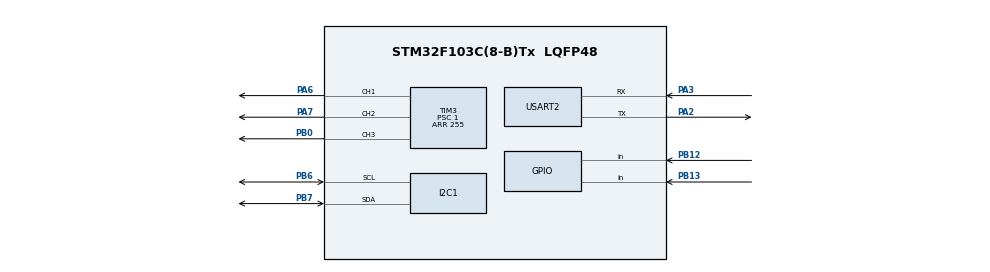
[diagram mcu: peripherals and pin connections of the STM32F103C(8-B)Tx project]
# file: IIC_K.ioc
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Mcu.Family=STM32F1
Mcu.Name=STM32F103C(8-B)Tx
Mcu.Package=LQFP48
NVIC.PriorityGroup=NVIC_PRIORITYGROUP_4
PA2.Mode=Asynchronous
PA2.Signal=USART2_TX
PA3.Mode=Asynchronous
PA3.Signal=USART2_RX
PA6.Signal=S_TIM3_CH1
PA7.Signal=S_TIM3_CH2
PB0.Signal=S_TIM3_CH3
PB12.GPIO_PuPd=GPIO_PULLUP
PB12.Signal=GPIO_Input
PB13.GPIO_PuPd=GPIO_PULLUP
PB13.Signal=GPIO_Input
PB6.Mode=I2C
PB6.Signal=I2C1_SCL
PB7.Mode=I2C
PB7.Signal=I2C1_SDA
ProjectManager.HeapSize=0x200
ProjectManager.StackSize=0x400
ProjectManager.TargetToolchain=STM32CubeIDE
RCC.APB1Freq_Value=8000000
RCC.APB2Freq_Value=8000000
SH.S_TIM3_CH1.0=TIM3_CH1,PWM Generation1 CH1
SH.S_TIM3_CH2.0=TIM3_CH2,PWM Generation2 CH2
SH.S_TIM3_CH3.0=TIM3_CH3,PWM Generation3 CH3
TIM3.AutoReloadPreload=TIM_AUTORELOAD_PRELOAD_ENABLE
TIM3.Channel-PWM\ Generation1\ CH1=TIM_CHANNEL_1
TIM3.Channel-PWM\ Generation2\ CH2=TIM_CHANNEL_2
TIM3.Channel-PWM\ Generation3\ CH3=TIM_CHANNEL_3
TIM3.Period=255
TIM3.Prescaler=1
USART2.VirtualMode=VM_ASYNC
VP_TIM3_VS_ClockSourceINT.Mode=Internal
board=custom

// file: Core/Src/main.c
/* USER CODE BEGIN Header */
/**
  ******************************************************************************
  * @file           : main.c
  * @brief          : Main program body
  ******************************************************************************
  * @attention
  *
  * Copyright (c) 2023 STMicroelectronics.
  * All rights reserved.
  *
  * This software is licensed under terms that can be found in the LICENSE file
  * in the root directory of this software component.
  * If no LICENSE file comes with this software, it is provided AS-IS.
  *
  ******************************************************************************
  */
/* USER CODE END Header */
#include "main.h"
#include "i2c.h"
#include "tim.h"
#include "usart.h"
#include "gpio.h"

/* USER CODE BEGIN Includes */
void mapTemperatureToColor(float temperature,int *color[3]) {
    //int color[3];
	int minval=0;
    if (temperature <= 25) {
        color[0] = minval;    // Red
        color[1] = minval;    // Green
        color[2] = 255;  // Blue
    }
    else {
        if (temperature >= 25 && temperature <= 27.5)
        {
            color[0] = minval;  // Red
            color[1] = minval + (int)((temperature - 25) * 102);    // Green
            color[2] = 255 - (int)((temperature - 25) * 102);    // Blue
        }
        else
        {
            if (temperature >= 27.5 && temperature <= 30)
            {
                color[0] = minval + (int)((temperature - 27.5) * 102);    // Red
                color[1] = 255 - (int)((temperature - 27.5) * 102);    // Green
                color[2] = minval;  // Blue
            }
            else
            {
                color[0] = 255;    // Red
                color[1] = minval;    // Green
                color[2] = minval;  // Blue
            }
        }
    }
//    for (int i = 0; i < 3; i++)
//    {
//        color[i] = 20*i;
//    }
//    return color;
}
/* USER CODE END Includes */

void SystemClock_Config(void);

int main(void)
{

  /* MCU Configuration--------------------------------------------------------*/

  /* Reset of all peripherals, Initializes the Flash interface and the Systick. */
  HAL_Init();

  /* Configure the system clock */
  SystemClock_Config();

  /* Initialize all configured peripherals */
  MX_GPIO_Init();
  MX_I2C1_Init();
  MX_USART2_UART_Init();
  MX_TIM3_Init();
  /* USER CODE BEGIN 2 */
  HAL_TIM_PWM_Start(&htim3, TIM_CHANNEL_1);
  HAL_TIM_PWM_Start(&htim3, TIM_CHANNEL_2);
  HAL_TIM_PWM_Start(&htim3, TIM_CHANNEL_3);
  AHT20INIT();
  OLED_Init();
  OLED_ColorTurn(0);
  OLED_DisplayTurn(0);
  float tem,hum;
  float temlist[20];
  float humlist[20];
  char msg[50];
  char demsg[50];
  char msg1[11];
  char msg2[11];

  int i=0,j=0;
  int idx=0;
  float init1,init2;
  float sum1=0;
  float sum2=0;
  AHT20READ(&init1,&init2);
  int dataline[128][32];
  for(i=0;i<128;i++)
  {
	  for(j=0;j<32;j++)
	  {
		  dataline[i][j]=0;
	  }
  }
//  for(i=0;i<128;i++)
//  {
//		  dataline[i][16]=1;
//  }
  for(i=0;i<32;i++)
  {
		  dataline[126][i]=1;
  }
  for(i=0;i<20;i++)
  {
	  temlist[i]=init1;
	  humlist[i]=init2;
  }
  int ro=0;
  int rl=0;
  int color[3]={0,0,0};
  int curdata=0;
  int xloop=126;
  float st=27.15;
  /* USER CODE END 2 */

  /* Infinite loop */
  while (1)
  {

    /* USER CODE BEGIN 3 */
	  //HAL_UART_Transmit(&huart2, "begin", 5, 200);
	  AHT20INIT();
//	  OLED_Init();
//	  OLED_ColorTurn(0);
//	  OLED_DisplayTurn(0);
	  AHT20READ(&tem,&hum);
	  if(HAL_GPIO_ReadPin(GPIOB, GPIO_PIN_12)==0)
	  {
		  ro=(ro+1)%2;
		  OLED_DisplayTurn(ro);
		  HAL_Delay(50);
	  }
	  if(HAL_GPIO_ReadPin(GPIOB, GPIO_PIN_13)==0)
	  {
		  rl=(rl+1)%2;
		  OLED_ColorTurn(rl);
		  HAL_Delay(50);
	  }
	  temlist[idx]=tem;
	  humlist[idx]=hum;
	  sum1=0;
	  sum2=0;
	  idx=(idx+1)%20;
	  for(i=0;i<20;i++)
	  {
		  sum1+=temlist[i];
		  sum2+=humlist[i];
	  }

	  sprintf(msg,"TEM:%.2fC,HUM:%.2f%%\r\n",(sum1/20)*0.98,(sum2/20)*1.00);
	  curdata=(int)(
			  8*((sum1/20)-st)
			  );
	  if(curdata<=-16)
	  {
		  curdata=-8;
		  st=(sum1/20);
		  for(i=0;i<32;i++)
		  {
			  dataline[126][i]=1;
		  }
	  }
	  else
	  {
		  if(curdata>=15)
		  {
			  st=(sum1/20);
			  for(i=0;i<32;i++)
			  {
				  dataline[126][i]=1;
			  }
		  }
		  else
		  {
			  for(i=0;i<32;i++)
			  {
				  dataline[127][i]=0;
			  }
			  dataline[127][curdata+16]=1;
		  }
	  }
	  //xloop=(xloop+1)%128;

	  for(i=1;i<128;i++)
	  {
		  for(j=0;j<32;j++)
		  {
			  dataline[i-1][j]=dataline[i][j];
		  }
	  }

//	  if(  ((sum1/20)*0.98)<=25  )
//	  {
//		  HAL_GPIO_WritePin(GPIOB, GPIO_PIN_0, 0);
//		  HAL_GPIO_WritePin(GPIOA, GPIO_PIN_7, 0);
//		  HAL_GPIO_WritePin(GPIOA, GPIO_PIN_6, 1);
//	  }
//	  else
//	  {
//		  if(  ((sum1/20)*0.98)>=30  )
//		  {
//			  HAL_GPIO_WritePin(GPIOB, GPIO_PIN_0, 1);
//			  HAL_GPIO_WritePin(GPIOA, GPIO_PIN_7, 0);
//			  HAL_GPIO_WritePin(GPIOA, GPIO_PIN_6, 0);
//		  }
//		  else
//		  {
//			  HAL_GPIO_WritePin(GPIOB, GPIO_PIN_0, 0);
//			  HAL_GPIO_WritePin(GPIOA, GPIO_PIN_7, 1);
//			  HAL_GPIO_WritePin(GPIOA, GPIO_PIN_6, 0);
//		  }
//	  }

	  //*color = mapTemperatureToColor((sum1/20)*0.98);
	  mapTemperatureToColor(
			  (sum1/20)*0.98,
			  &color
	  );
	  __HAL_TIM_SetCompare(&htim3, TIM_CHANNEL_3, color[0]*0.6);
	  __HAL_TIM_SetCompare(&htim3, TIM_CHANNEL_2, color[1]*1.0);
	  __HAL_TIM_SetCompare(&htim3, TIM_CHANNEL_1, color[2]*0.8);

	  sprintf(demsg,"%d,%d,%d%\r\n--",
			  color[0],
			  color[1],
			  color[2]);
	  HAL_UART_Transmit(&huart2, demsg, strlen(demsg), 200);

//	  __HAL_TIM_SetCompare(&htim3, TIM_CHANNEL_3, 200);
//	  __HAL_TIM_SetCompare(&htim3, TIM_CHANNEL_2, 0);
//	  __HAL_TIM_SetCompare(&htim3, TIM_CHANNEL_1, 0);

	  for(i=0;i<10;i++)
	  {
		  msg1[i]=msg[i];
		  msg2[i]=msg[i+11];
	  }
	  msg1[10]='\0';
	  msg2[10]='\0';

	  //HAL_UART_Transmit(&huart2, msg1, strlen(msg1), 200);
	  //HAL_UART_Transmit(&huart2, msg2, strlen(msg2), 200);
	  OLED_ShowString(8, 44, msg1, 16, 1);
	  //OLED_ShowString(8, 44, msg2, 16, 1);
	  for(i=0;i<128;i++)
	  {
		  for(j=0;j<32;j++)
		  {
			  OLED_DrawPoint(i,32-j,dataline[i][j]);
		  }
	  }
	  OLED_Refresh();
	  //HAL_Delay(10);
	  //HAL_UART_Transmit(&huart2, "end", 3, 200);
  }
  /* USER CODE END 3 */
}

void SystemClock_Config(void)
{
  RCC_OscInitTypeDef RCC_OscInitStruct = {0};
  RCC_ClkInitTypeDef RCC_ClkInitStruct = {0};

  /** Initializes the RCC Oscillators according to the specified parameters
  * in the RCC_OscInitTypeDef structure.
  */
  RCC_OscInitStruct.OscillatorType = RCC_OSCILLATORTYPE_HSI;
  RCC_OscInitStruct.HSIState = RCC_HSI_ON;
  RCC_OscInitStruct.HSICalibrationValue = RCC_HSICALIBRATION_DEFAULT;
  RCC_OscInitStruct.PLL.PLLState = RCC_PLL_NONE;
  if (HAL_RCC_OscConfig(&RCC_OscInitStruct) != HAL_OK)
  {
    Error_Handler();
  }

  /** Initializes the CPU, AHB and APB buses clocks
  */
  RCC_ClkInitStruct.ClockType = RCC_CLOCKTYPE_HCLK|RCC_CLOCKTYPE_SYSCLK
                              |RCC_CLOCKTYPE_PCLK1|RCC_CLOCKTYPE_PCLK2;
  RCC_ClkInitStruct.SYSCLKSource = RCC_SYSCLKSOURCE_HSI;
  RCC_ClkInitStruct.AHBCLKDivider = RCC_SYSCLK_DIV1;
  RCC_ClkInitStruct.APB1CLKDivider = RCC_HCLK_DIV1;
  RCC_ClkInitStruct.APB2CLKDivider = RCC_HCLK_DIV1;

  if (HAL_RCC_ClockConfig(&RCC_ClkInitStruct, FLASH_LATENCY_0) != HAL_OK)
  {
    Error_Handler();
  }
}

void Error_Handler(void)
{
  __disable_irq();
  while (1)
  {
  }
}
